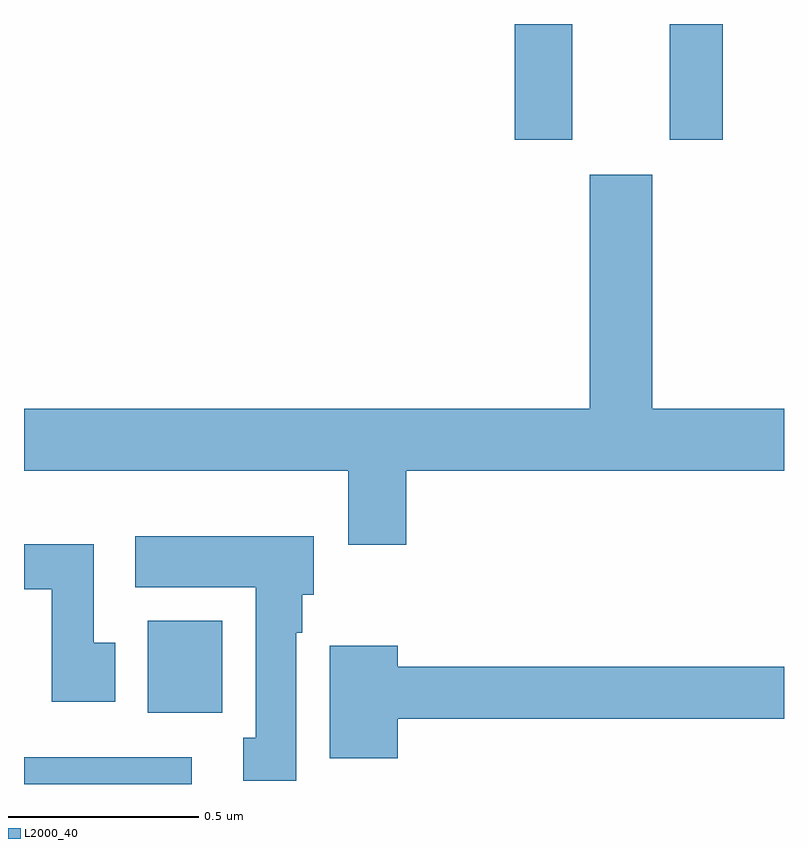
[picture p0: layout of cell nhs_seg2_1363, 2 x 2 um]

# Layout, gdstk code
import gdstk
lib = gdstk.Library(unit=1e-6, precision=1e-09)
def R(c, l, rs):  # rectangles x0, y0, x1, y1
    for r in rs: c.add(gdstk.rectangle(r[:2], r[2:], *l))
def P(c, l, *ps):  # polygons
    for p in ps: c.add(gdstk.Polygon(p, *l))
L2000_40 = (2000, 40)

nhs_seg2_1363 = lib.new_cell('nhs_seg2_1363')
R(nhs_seg2_1363, L2000_40, [(127,658.8,127.441,658.87), (127.325,658.988,127.522,659.23), (128.291,660.495,128.443,660.8), (128.699,660.495,128.839,660.8)])
P(nhs_seg2_1363, L2000_40, [(128.006,659.624),(129,659.624),(129,659.788),(128.653,659.788),(128.653,660.403),(128.489,660.403),(128.489,659.788),(127,659.788),(127,659.624),(127.853,659.624),(127.853,659.43),(128.006,659.43)],
  [(127.717,659.198),(127.732,659.198),(127.732,659.298),(127.762,659.298),(127.762,659.452),(127.293,659.452),(127.293,659.318),(127.61,659.318),(127.61,658.922),(127.577,658.922),(127.577,658.809),(127.717,658.809)],
  [(127.24,659.172),(127.183,659.172),(127.183,659.431),(127,659.431),(127,659.312),(127.073,659.312),(127.073,659.016),(127.24,659.016)],
  [(127.984,658.972),(129,658.972),(129,659.108),(127.984,659.108),(127.984,659.164),(127.805,659.164),(127.805,658.868),(127.984,658.868)])

lib.write_gds('nhs_seg2_1363.gds')
